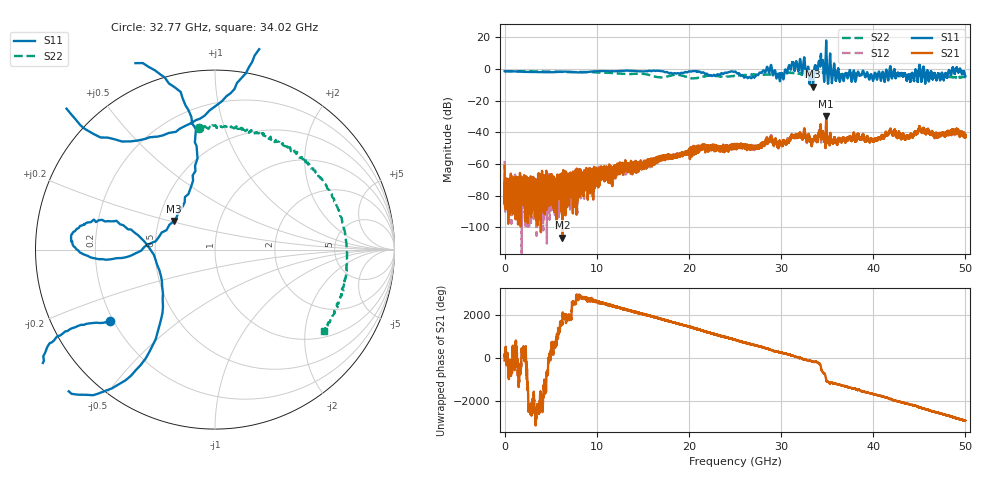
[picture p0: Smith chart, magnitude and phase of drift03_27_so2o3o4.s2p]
!Created with skrf (http://scikit-rf.org).
# Hz S RI R 50.0
!freq ReS11 ImS11 ReS21 ImS21 ReS12 ImS12 ReS22 ImS22
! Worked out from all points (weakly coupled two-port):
!   10001 points, 300 kHz to 50 GHz, reference 50 ohm
!   highest |S21| = -29.69 dB at 34.9 GHz (marker M1); lowest = -106.5 dB at 6.275 GHz (marker M2)
!   lowest |S11| = -11.1 dB at 33.47 GHz (marker M3), VSWR 1.77, Z = 30.1 + j10.4 ohm
!   |S11| at or under -10 dB: 33.44755 GHz to 33.48557 GHz (38.01 MHz wide, 0.114 % of centre)
!   |S22| runs from -5.9 to -1.3 dB; largest |S21 - S12| = 0.0055
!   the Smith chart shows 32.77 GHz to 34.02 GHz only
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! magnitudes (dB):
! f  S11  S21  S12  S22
! 300 kHz  -1.3  -61.1  -58.0  -2.1
! 305.3 MHz  -1.3  -80.5  -80.5  -1.4
! 6.275 GHz  -1.7  -106.5  -70.8  -1.9
! 8.335 GHz  -2.2  -68.3  -67.9  -1.9
! 16.67 GHz  -1.1  -56.6  -56.8  -5.2
! 25 GHz  -1.5  -48.2  -49.3  -4.3
! 26.92 GHz  -4.9  -48.7  -48.9  -3.6
! 28.73 GHz  -2.2  -45.9  -45.5  -3.5
! 30.06 GHz  -2.5  -47.7  -47.8  -2.8
! 31.87 GHz  -1.5  -42.4  -42.2  -2.9
! 33.34 GHz  -2.2  -47.2  -47.0  -2.9
! 33.47 GHz  -11.1  -45.0  -44.9  -2.8
! 34.3 GHz  7.3  -35.0  -34.8  -2.3
! 34.9 GHz  18.0  -29.7  -31.1  -2.4
! 36.58 GHz  -3.4  -46.0  -46.0  -3.6
! 40.17 GHz  -2.7  -44.4  -44.1  -3.7
! 41.67 GHz  -5.6  -40.3  -40.7  -3.7
! 43.67 GHz  -6.9  -41.7  -42.3  -4.0
! 45.22 GHz  -7.8  -39.3  -38.9  -4.5
! 47.06 GHz  -2.9  -41.6  -41.8  -5.0
! 49.21 GHz  -1.9  -38.9  -40.0  -5.2
! 50 GHz  -4.7  -41.6  -41.2  -5.0
